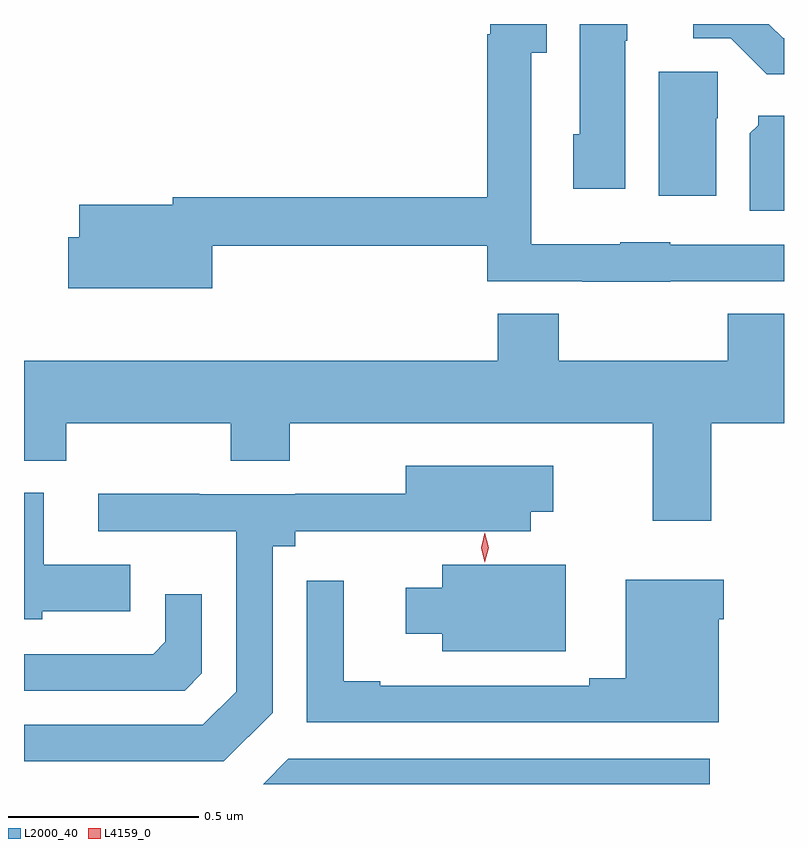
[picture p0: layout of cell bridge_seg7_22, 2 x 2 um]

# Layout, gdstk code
import gdstk
lib = gdstk.Library(unit=1e-6, precision=1e-09)
def P(c, l, *ps):  # polygons
    for p in ps: c.add(gdstk.Polygon(p, *l))
L2000_40 = (2000, 40)
L4159_0 = (4159, 0)

bridge_seg7_22 = lib.new_cell('bridge_seg7_22')
P(bridge_seg7_22, L2000_40, [(1106.338,1075.674),(1107.061,1075.674),(1107.061,1075.581),(1107.311,1075.581),(1107.311,1075.58),(1107.543,1075.58),(1107.543,1075.581),(1107.842,1075.581),(1107.842,1075.677),(1107.543,1075.677),(1107.543,1075.684),(1107.411,1075.684),(1107.411,1075.678),(1107.177,1075.678),(1107.177,1076.183),(1107.217,1076.183),(1107.217,1076.258),(1107.069,1076.258),(1107.069,1076.231),(1107.061,1076.231),(1107.061,1075.802),(1106.234,1075.802),(1106.234,1075.783),(1105.988,1075.783),(1105.988,1075.697),(1105.958,1075.697),(1105.958,1075.562),(1106.338,1075.562)],
  [(1107.842,1076.22),(1107.84,1076.22),(1107.802,1076.258),(1107.603,1076.258),(1107.603,1076.22),(1107.702,1076.22),(1107.796,1076.126),(1107.842,1076.126)],
  [(1107.424,1076.214),(1107.43,1076.214),(1107.43,1076.258),(1107.305,1076.258),(1107.305,1075.968),(1107.287,1075.968),(1107.287,1075.824),(1107.424,1075.824)],
  [(1107.664,1076.01),(1107.668,1076.01),(1107.668,1076.133),(1107.512,1076.133),(1107.512,1075.806),(1107.664,1075.806)],
  [(1107.842,1076.017),(1107.774,1076.017),(1107.774,1075.992),(1107.752,1075.97),(1107.752,1075.766),(1107.842,1075.766)],
  [(1107.089,1075.496),(1107.089,1075.372),(1105.842,1075.372),(1105.842,1075.109),(1105.953,1075.109),(1105.953,1075.208),(1106.386,1075.208),(1106.386,1075.109),(1106.541,1075.109),(1106.541,1075.208),(1107.497,1075.208),(1107.497,1074.951),(1107.65,1074.951),(1107.65,1075.208),(1107.842,1075.208),(1107.842,1075.496),(1107.694,1075.496),(1107.694,1075.372),(1107.249,1075.372),(1107.249,1075.496)],
  [(1106.496,1074.446),(1106.496,1074.884),(1106.556,1074.884),(1106.556,1074.923),(1107.175,1074.923),(1107.175,1074.974),(1107.235,1074.974),(1107.235,1075.096),(1106.846,1075.096),(1106.846,1075.022),(1106.556,1075.022),(1106.556,1075.02),(1106.303,1075.02),(1106.303,1075.022),(1106.037,1075.022),(1106.037,1074.923),(1106.4,1074.923),(1106.4,1074.501),(1106.313,1074.414),(1105.842,1074.414),(1105.842,1074.318),(1106.368,1074.318)],
  [(1105.89,1074.713),(1106.122,1074.713),(1106.122,1074.835),(1105.894,1074.835),(1105.894,1075.024),(1105.842,1075.024),(1105.842,1074.692),(1105.89,1074.692)],
  [(1107.268,1074.835),(1106.942,1074.835),(1106.942,1074.775),(1106.846,1074.775),(1106.846,1074.653),(1106.942,1074.653),(1106.942,1074.608),(1107.268,1074.608)],
  [(1107.67,1074.692),(1107.683,1074.692),(1107.683,1074.796),(1107.425,1074.796),(1107.425,1074.536),(1107.329,1074.536),(1107.329,1074.516),(1106.779,1074.516),(1106.779,1074.529),(1106.683,1074.529),(1106.683,1074.793),(1106.586,1074.793),(1106.586,1074.42),(1107.67,1074.42)],
  [(1106.31,1074.549),(1106.31,1074.757),(1106.214,1074.757),(1106.214,1074.632),(1106.182,1074.6),(1105.842,1074.6),(1105.842,1074.504),(1106.265,1074.504)],
  [(1107.646,1074.324),(1106.537,1074.324),(1106.471,1074.258),(1107.646,1074.258)])
P(bridge_seg7_22, L4159_0, [(1107.055,1074.841),(1107.055,1074.841),(1107.045,1074.88),(1107.055,1074.919),(1107.055,1074.919),(1107.055,1074.919),(1107.065,1074.88),(1107.055,1074.841)])

lib.write_gds('bridge_seg7_22.gds')
